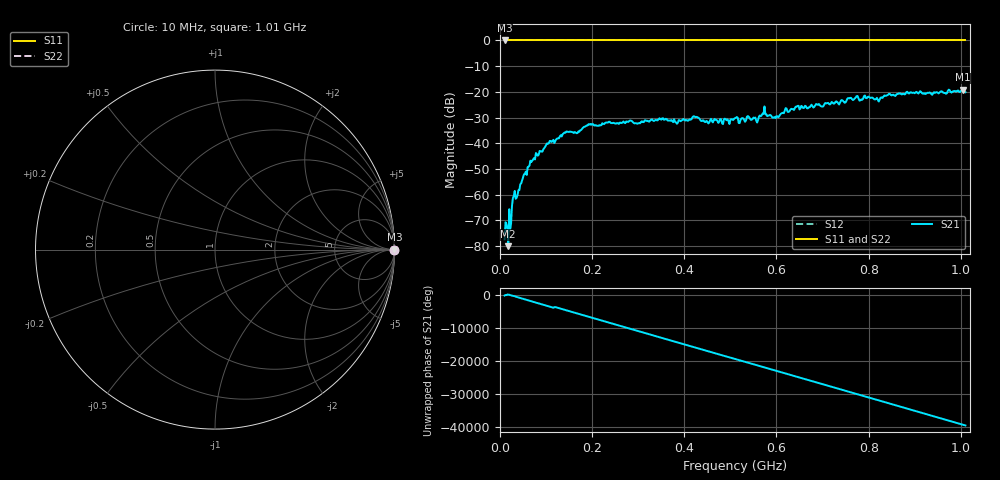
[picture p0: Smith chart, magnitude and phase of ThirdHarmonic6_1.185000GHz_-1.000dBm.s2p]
! 8/16/2025 12:08:20 PM
! C:\ANRITSUVNA\TEMP\TEMP.S2P
! CHANNEL.1
! TR.MEASUREMENT
! RAW.DATA
! RF.CORRECTION.OFF
! AVERAGING.OFF
! IF.BANDWIDTH: 5KHZ
! SWEEPTYPE:  FREQ.SWEEP(Linear)
! Reference Plane Port Info
! PORT:  PORT1  PORT2
! DISTANCE:  0  m  0  m
! TIME:  0  s  0  s
! PHASE.OFFSET:  0  deg.  0  deg.
! LOSS:  0  dB  0  dB
! REF.LOSS:  0  dB  0  dB
! REF.FREQ:  0  Hz  0  Hz
! Power Info
! POWER:  -20  dBm  -20  dBm
! EFF.POWER:  -20  dBm  -20  dBm
! SOURCE.ATTEN:  0  dB  0  dB
! TEST.ATTEN:  0  dB  0  dB
# GHZ S RI R 50.0
! FREQ.GHZ  S11RE  S11IM  S21RE  S21IM  S12RE  S12IM  S22RE  S22IM
!; PortSelection: Port_12
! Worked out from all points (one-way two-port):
!   501 points, 10 MHz to 1.01 GHz, reference 50 ohm
!   highest |S21| = -19.12 dB at 1.004 GHz (marker M1); lowest = -80.1 dB at 18 MHz (marker M2)
!   lowest |S11| = 0.0 dB at 10 MHz (marker M3)
!   |S11| at or under -10 dB: nowhere
!   |S22| runs from 0.0 to 0.0 dB; largest |S21 - S12| = 1.1
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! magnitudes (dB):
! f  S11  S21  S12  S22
! 10 MHz  0.0  -77.5  0.0  0.0
! 18 MHz  0.0  -80.1  0.0  0.0
! 22 MHz  0.0  -73.6  0.0  0.0
! 30 MHz  0.0  -60.6  0.0  0.0
! 38 MHz  0.0  -60.3  0.0  0.0
! 52 MHz  0.0  -52.2  0.0  0.0
! 70 MHz  0.0  -46.8  0.0  0.0
! 106 MHz  0.0  -40.0  0.0  0.0
! 178 MHz  0.0  -34.5  0.0  0.0
! 196 MHz  0.0  -32.5  0.0  0.0
! 344 MHz  0.0  -30.7  0.0  0.0
! 424 MHz  0.0  -29.9  0.0  0.0
! 450 MHz  0.0  -31.6  0.0  0.0
! 510 MHz  0.0  -30.2  0.0  0.0
! 556 MHz  0.0  -31.2  0.0  0.0
! 574 MHz  0.0  -25.7  0.0  0.0
! 594 MHz  0.0  -30.0  0.0  0.0
! 644 MHz  0.0  -25.8  0.0  0.0
! 678 MHz  0.0  -25.6  0.0  0.0
! 844 MHz  0.0  -20.8  0.0  0.0
! 1.004 GHz  0.0  -19.1  0.0  0.0
! 1.01 GHz  0.0  -20.1  0.0  0.0
